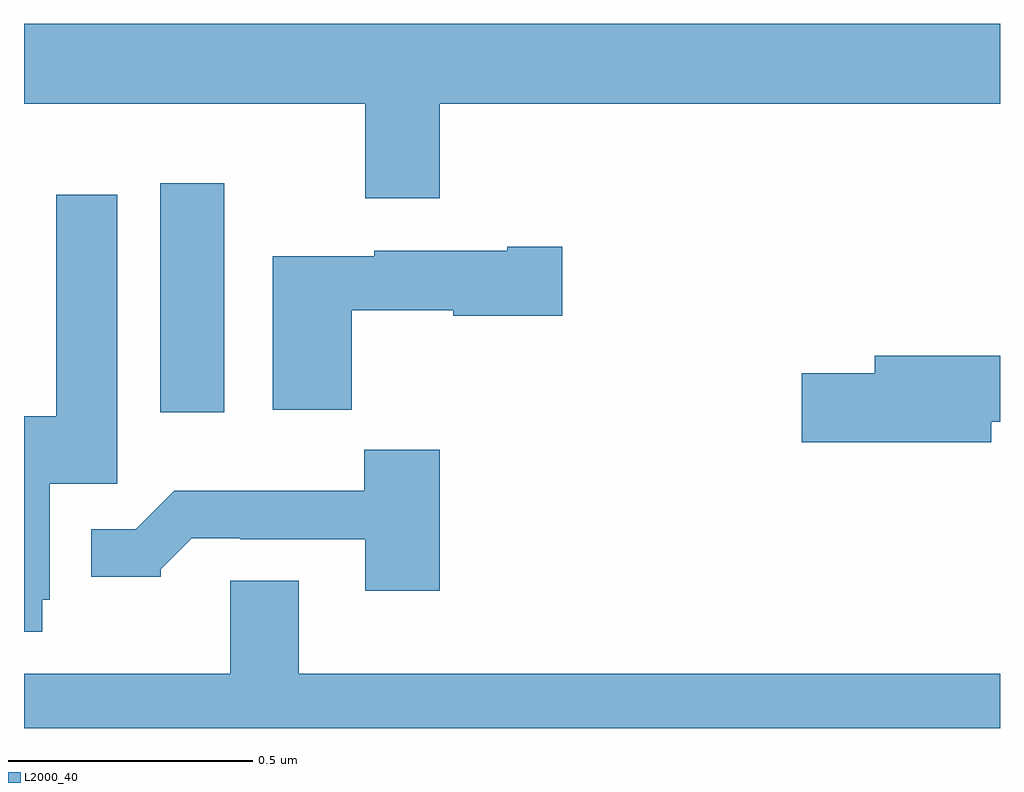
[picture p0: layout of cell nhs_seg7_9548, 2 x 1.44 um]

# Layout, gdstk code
import gdstk
lib = gdstk.Library(unit=1e-6, precision=1e-09)
def R(c, l, rs):  # rectangles x0, y0, x1, y1
    for r in rs: c.add(gdstk.rectangle(r[:2], r[2:], *l))
def P(c, l, *ps):  # polygons
    for p in ps: c.add(gdstk.Polygon(p, *l))
L2000_40 = (2000, 40)

nhs_seg7_9548 = lib.new_cell('nhs_seg7_9548')
R(nhs_seg7_9548, L2000_40, [(239.279,1002.648,239.41,1003.117)])
P(nhs_seg7_9548, L2000_40, [(239.852,1003.28),(241,1003.28),(241,1003.444),(239,1003.444),(239,1003.28),(239.699,1003.28),(239.699,1003.086),(239.852,1003.086)],
  [(239.037,1002.264),(239.053,1002.264),(239.053,1002.501),(239.191,1002.501),(239.191,1003.093),(239.066,1003.093),(239.066,1002.64),(239,1002.64),(239,1002.198),(239.037,1002.198)],
  [(239.672,1002.857),(239.88,1002.857),(239.88,1002.845),(240.103,1002.845),(240.103,1002.987),(239.99,1002.987),(239.99,1002.979),(239.718,1002.979),(239.718,1002.967),(239.51,1002.967),(239.51,1002.653),(239.672,1002.653)],
  [(240.982,1002.628),(241,1002.628),(241,1002.764),(240.743,1002.764),(240.743,1002.728),(240.594,1002.728),(240.594,1002.586),(240.982,1002.586)],
  [(239.852,1002.571),(239.697,1002.571),(239.697,1002.487),(239.308,1002.487),(239.229,1002.408),(239.138,1002.408),(239.138,1002.311),(239.28,1002.311),(239.28,1002.326),(239.344,1002.39),(239.443,1002.39),(239.443,1002.387),(239.699,1002.387),(239.699,1002.282),(239.852,1002.282)],
  [(241,1002.112),(239.563,1002.112),(239.563,1002.302),(239.423,1002.302),(239.423,1002.112),(239,1002.112),(239,1002),(241,1002)])

lib.write_gds('nhs_seg7_9548.gds')
